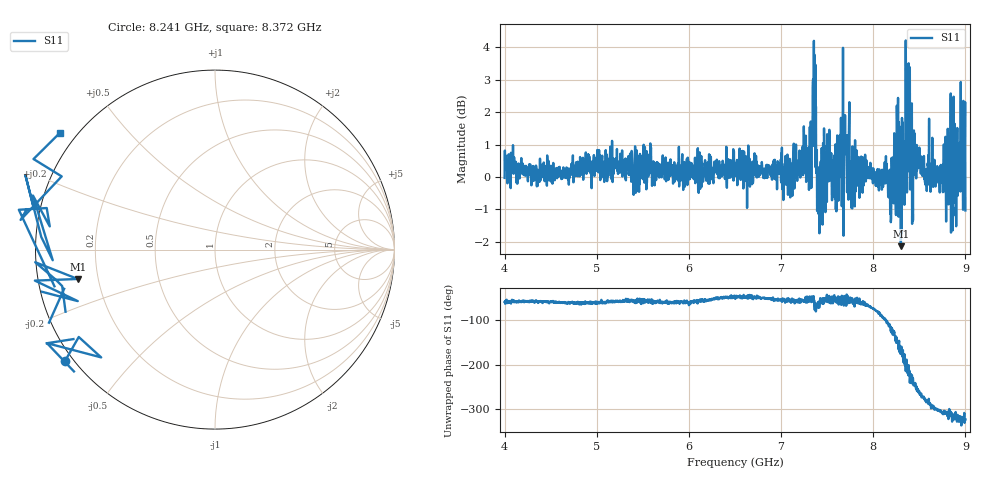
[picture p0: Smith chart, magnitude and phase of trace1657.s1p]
! Created with skrf 1.8.0 (http://scikit-rf.org).
# Hz S RI R 50.0
!freq ReS11 ImS11
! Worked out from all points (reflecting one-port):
!   1601 points, 4 GHz to 9 GHz, reference 50 ohm
!   lowest |S11| = -2.1 dB at 8.3 GHz (marker M1), VSWR 8.18, Z = 6.18 - j5.21 ohm
!   phase of S11 starts at -58 deg and turns -265 deg over the sweep
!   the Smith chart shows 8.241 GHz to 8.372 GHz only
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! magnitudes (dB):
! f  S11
! 4 GHz  0.0
! 4.625 GHz  -0.1
! 5.25 GHz  0.2
! 5.875 GHz  0.2
! 6.5 GHz  0.4
! 7.125 GHz  0.4
! 7.303 GHz  -0.4
! 7.347 GHz  3.0
! 7.362 GHz  3.8
! 7.4 GHz  -0.5
! 7.412 GHz  -0.2
! 7.525 GHz  1.5
! 7.575 GHz  0.5
! 7.609 GHz  1.3
! 7.669 GHz  1.6
! 7.75 GHz  -0.5
! 8.134 GHz  0.2
! 8.172 GHz  0.0
! 8.259 GHz  1.7
! 8.3 GHz  -2.1
! 8.316 GHz  0.6
! 8.334 GHz  0.5
! 8.375 GHz  0.6
! 8.441 GHz  1.4
! 8.556 GHz  -0.1
! 8.844 GHz  -1.7
! 8.972 GHz  0.9
! 9 GHz  -1.0
